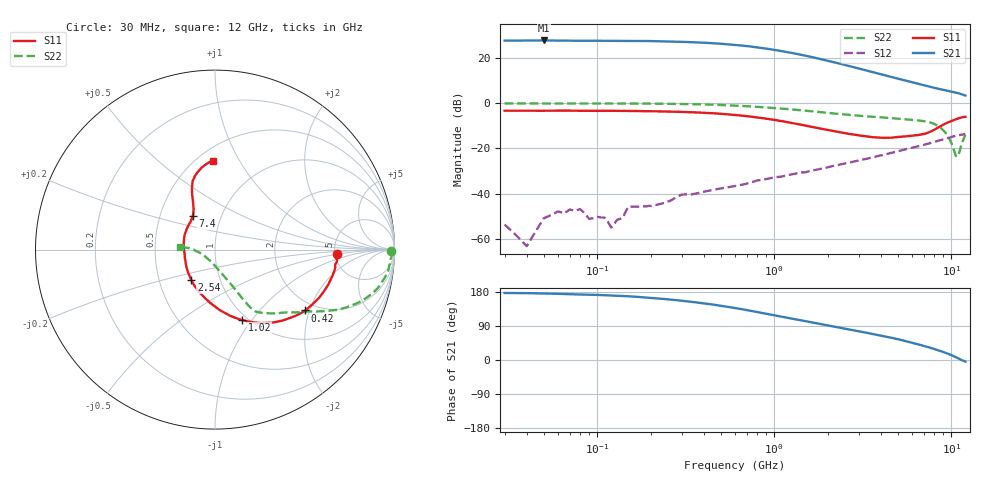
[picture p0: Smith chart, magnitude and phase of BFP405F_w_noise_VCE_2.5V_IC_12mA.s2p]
! Infineon Technologies  Discrete & RF Semiconductors
! BFP405F
! VCE =  2.5 V,  IC =  12 mA
! Common Emitter S-Parameters:  Nov 2015
# GHz  S  MA  R  50
!  f  S11  S21  S12  S22
! GHz  MAG  ANG  MAG  ANG  MAG  ANG  MAG  ANG
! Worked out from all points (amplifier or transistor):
!   239 points, 30 MHz to 12 GHz, reference 50 ohm
!   highest |S21| = 27.6 dB at 50 MHz (marker M1)
!   |S21| within 3 dB of that: start of sweep to 790.8 MHz
!   unconditionally stable (mu >= 1): 38.3 MHz to 40.93 MHz; 2.131 GHz to end of sweep
!   at 300 MHz: K = 0.19, MSG = 33.7 dB, |S12| = -40.4 dB
!   at 1.88 GHz: K = 0.95, MSG = 24.0 dB, |S12| = -28.8 dB
!   at 12 GHz: K = 1.39, MAG = 4.8 dB, |S12| = -13.7 dB
!   lowest NFmin = 1.80 dB at 450 MHz
!   S11 on the Smith chart (normalised r, x): 30 MHz: 5.18, -0.50; 420 MHz: 1.74, -1.86; 1.02 GHz: 0.94, -0.90; 2.54 GHz: 0.73, -0.26; 7.4 GHz: 0.73, +0.29; 12 GHz: 0.60, +0.79
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0.03  0.6788 -2.2  23.77 176.8  0.0021 86.2  0.9794 -0.6
0.04  0.6766 -3.2  23.8 176.4  0.0007 7.6  0.9797 -1.0
0.05  0.6766 -4.1  23.96 175.3  0.0029 101.1  0.9828 -1.4
0.085  0.675 -7.3  23.63 172.6  0.0037 83.4  0.9823 -2.7
0.12  0.6748 -10.3  23.48 170.4  0.0018 75.6  0.9811 -3.8
0.14  0.6721 -12.0  23.49 169.0  0.003 83.0  0.9804 -4.6
0.2  0.6606 -17.1  23.24 163.8  0.0054 84.2  0.9726 -7.0
0.24  0.6517 -20.3  22.84 160.9  0.0063 87.9  0.9656 -8.3
0.3  0.6385 -25.0  22.39 156.4  0.0096 82.7  0.9527 -10.2
0.42  0.6051 -34.1  21.16 148.1  0.0115 77.0  0.9271 -13.8
0.6  0.5461 -46.4  19.11 137.0  0.0148 72.2  0.8777 -18.3
0.8  0.4828 -58.0  16.86 126.7  0.0196 71.6  0.8247 -22.1
1.02  0.42 -69.1  14.69 117.5  0.0232 69.7  0.7717 -25.5
1.3  0.3544 -81.7  12.39 107.8  0.0273 67.9  0.7136 -28.6
1.64  0.2972 -95.4  10.26 99.0  0.0327 67.2  0.6572 -31.6
2.02  0.2545 -109.9  8.535 90.9  0.0389 66.5  0.6065 -35.0
2.54  0.2155 -127.8  6.827 82.2  0.0472 65.8  0.5557 -39.0
3.3  0.1849 -150.3  5.246 72.1  0.0588 64.1  0.5094 -43.7
4.5  0.1728 179.5  3.823 59.7  0.0788 60.3  0.4691 -49.3
7.4  0.2235 124.0  2.331 33.8  0.127 49.1  0.382 -58.4
10.8  0.4505 101.2  1.672 5.5  0.1929 30.1  0.0652 -136.5
12  0.4961 91.0  1.46 -4.3  0.2073 23.3  0.1972 175.3
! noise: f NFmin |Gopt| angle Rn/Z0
0.45  1.8  0.16  4  0.33
0.9  1.81  0.15  8  0.33
1.5  1.86  0.13  12  0.23
1.9  1.91  0.12  19  0.29
2.4  2.04  0.1  26  0.38
3  2.11  0.08  35  0.4
3.5  2.17  0.06  40  0.45
4.5  2.36  0.03  -10  0.19
5.5  2.6  0.12  -85  0.06
